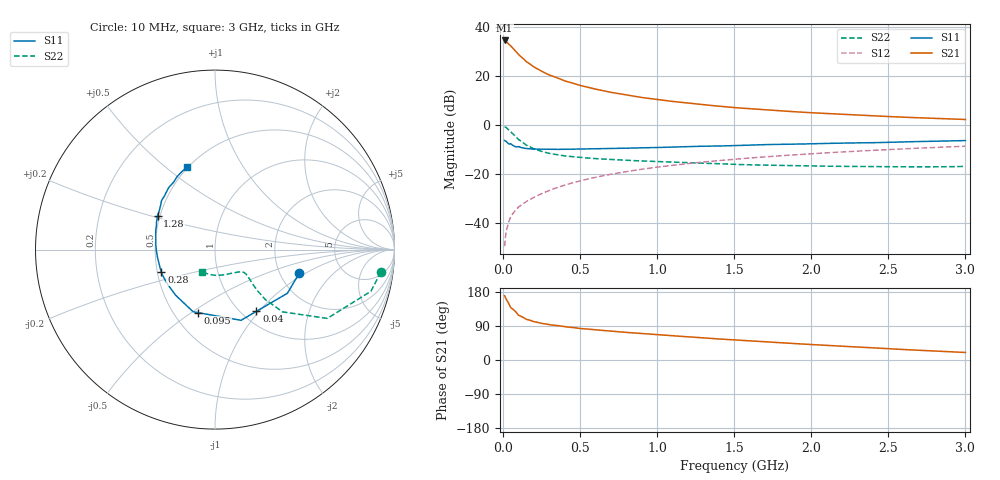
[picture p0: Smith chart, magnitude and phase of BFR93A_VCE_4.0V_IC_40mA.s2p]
! Infineon Technologies  Discrete & RF Semiconductors
! BFR93A
! VCE =  4.0 V,  IC =  40 mA
! Common Emitter S-Parameters:  Nov 2015
# GHz  S  MA  R  50
!  f  S11  S21  S12  S22
! GHz  MAG  ANG  MAG  ANG  MAG  ANG  MAG  ANG
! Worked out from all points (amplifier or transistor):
!   180 points, 10 MHz to 3 GHz, reference 50 ohm
!   highest |S21| = 34.6 dB at 10 MHz (marker M1)
!   |S21| within 3 dB of that: start of sweep to 61.53 MHz
!   unconditionally stable (mu >= 1): 296 MHz to 2.809 GHz
!   at 160 MHz: K = 0.84, MSG = 28.2 dB, |S12| = -30.8 dB
!   at 1.22 GHz: K = 1.08, MAG = 10.5 dB, |S12| = -15.5 dB
!   at 3 GHz: K = 0.99, MSG = 5.5 dB, |S12| = -8.6 dB
!   S11 on the Smith chart (normalised r, x): 10 MHz: 2.54, -0.89; 40 MHz: 1.17, -0.97; 95 MHz: 0.66, -0.53; 280 MHz: 0.53, -0.15; 1.28 GHz: 0.48, +0.21; 3 GHz: 0.49, +0.59
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0.01  0.4874 -15.8  53.71 169.7  0.0034 81.9  0.933 -7.7
0.02  0.4711 -31.1  51.49 160.4  0.0066 77.4  0.8989 -15.0
0.04  0.4142 -56.1  44.05 146.6  0.0113 70.4  0.781 -25.2
0.05  0.4198 -69.8  41.54 138.1  0.0137 68.7  0.7336 -31.5
0.095  0.3637 -105.2  28.88 120.8  0.0205 65.0  0.5327 -41.2
0.1  0.3671 -109.4  27.72 118.0  0.0213 64.7  0.5117 -42.7
0.15  0.3358 -130.8  19.98 107.5  0.0275 65.8  0.3939 -44.8
0.2  0.327 -144.5  15.48 101.2  0.0337 68.1  0.3297 -44.1
0.24  0.325 -151.9  13.15 97.7  0.0388 69.3  0.2987 -43.1
0.28  0.3235 -157.5  11.39 94.8  0.044 70.2  0.2762 -41.9
0.3  0.323 -159.9  10.6 93.3  0.0466 70.5  0.2664 -41.3
0.4  0.3231 -170.6  8.036 87.8  0.0599 71.9  0.236 -39.2
0.52  0.3274 -179.8  6.278 82.6  0.0759 71.9  0.2177 -38.2
0.6  0.3315 175.3  5.447 79.6  0.0866 71.7  0.2079 -38.1
0.7  0.3333 171.2  4.691 76.0  0.0999 71.0  0.1998 -38.7
0.9  0.3468 162.4  3.685 69.9  0.1263 69.3  0.1862 -41.4
1.02  0.3523 158.0  3.283 66.3  0.1419 67.9  0.1808 -43.7
1.28  0.3716 149.5  2.658 58.8  0.1749 64.9  0.1684 -50.2
1.52  0.385 142.7  2.265 52.4  0.2042 62.0  0.1583 -57.3
2.02  0.4195 130.3  1.785 40.4  0.2638 55.8  0.147 -74.9
2.52  0.4503 119.2  1.495 29.5  0.3208 49.4  0.1422 -95.4
3  0.4857 108.7  1.31 19.9  0.373 42.9  0.1445 -120.0
